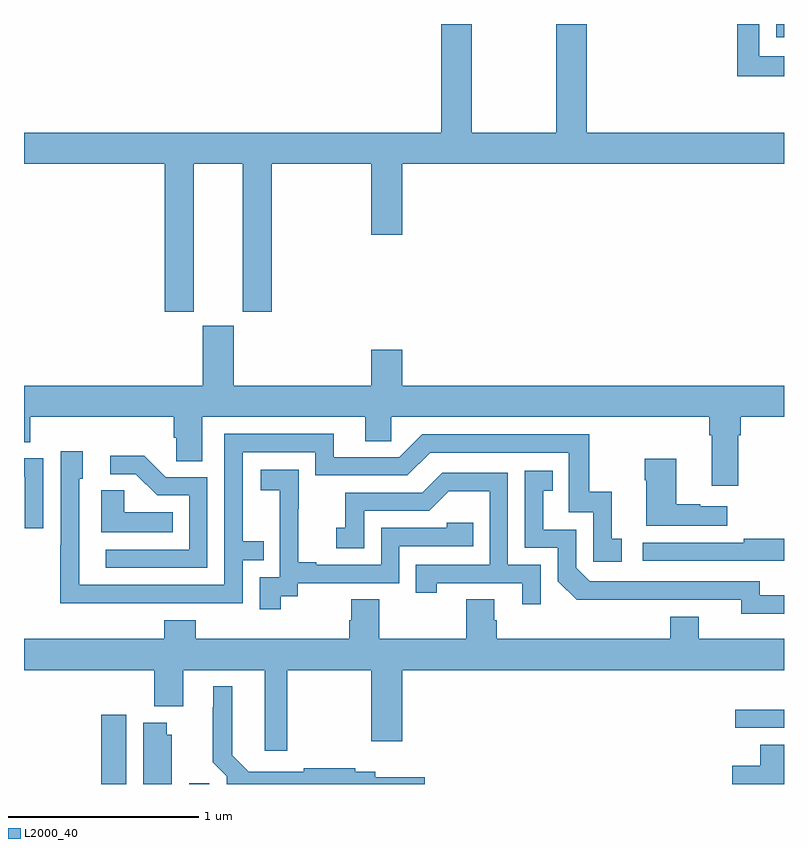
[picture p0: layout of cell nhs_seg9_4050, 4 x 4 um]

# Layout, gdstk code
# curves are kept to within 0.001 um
import gdstk
lib = gdstk.Library(unit=1e-6, precision=1e-09)
def R(c, l, rs):  # rectangles x0, y0, x1, y1
    for r in rs: c.add(gdstk.rectangle(r[:2], r[2:], *l))
def P(c, l, *ps):  # polygons
    for p in ps: c.add(gdstk.Polygon(p, *l))
L2000_40 = (2000, 40)

nhs_seg9_4050 = lib.new_cell('nhs_seg9_4050')
R(nhs_seg9_4050, L2000_40, [(343.406,1182.5,343.537,1182.865), (343.871,1182.5,343.975,1182.505), (346.743,1182.795,347,1182.891), (346.958,1186.43,347,1186.5)])
P(nhs_seg9_4050, L2000_40, [(343.894,1185.764),(344.15,1185.764),(344.15,1184.985),(344.303,1184.985),(344.303,1185.764),(344.828,1185.764),(344.828,1185.39),(344.992,1185.39),(344.992,1185.764),(347,1185.764),(347,1185.928),(345.962,1185.928),(345.962,1186.5),(345.802,1186.5),(345.802,1185.928),(345.357,1185.928),(345.357,1186.5),(345.197,1186.5),(345.197,1185.928),(343,1185.928),(343,1185.764),(343.742,1185.764),(343.742,1184.985),(343.894,1184.985)],
  [(346.876,1186.226),(347,1186.226),(347,1186.33),(346.869,1186.33),(346.869,1186.5),(346.753,1186.5),(346.753,1186.224),(346.876,1186.224)],
  [(346.759,1184.336),(346.772,1184.336),(346.772,1184.432),(347,1184.432),(347,1184.596),(344.992,1184.596),(344.992,1184.785),(344.828,1184.785),(344.828,1184.596),(344.104,1184.596),(344.104,1184.913),(343.94,1184.913),(343.94,1184.596),(343,1184.596),(343,1184.299),(343.034,1184.299),(343.034,1184.432),(343.787,1184.432),(343.787,1184.323),(343.8,1184.323),(343.8,1184.2),(343.939,1184.2),(343.939,1184.432),(344.795,1184.432),(344.795,1184.305),(344.934,1184.305),(344.934,1184.432),(346.607,1184.432),(346.607,1184.336),(346.619,1184.336),(346.619,1184.07),(346.759,1184.07)],
  [(343.655,1183.452),(344.151,1183.452),(344.151,1183.677),(344.261,1183.677),(344.261,1183.778),(344.151,1183.778),(344.151,1184.247),(344.532,1184.247),(344.532,1184.124),(345.018,1184.124),(345.138,1184.244),(345.867,1184.244),(345.867,1183.929),(345.996,1183.929),(345.996,1183.671),(346.147,1183.671),(346.147,1183.791),(346.094,1183.791),(346.094,1184.038),(345.976,1184.038),(345.976,1184.34),(345.096,1184.34),(344.976,1184.22),(344.629,1184.22),(344.629,1184.343),(344.055,1184.343),(344.055,1183.548),(343.29,1183.548),(343.29,1184.106),(343.309,1184.106),(343.309,1184.251),(343.194,1184.251),(343.194,1183.757),(343.192,1183.757),(343.192,1183.451)],
  [(343.965,1184.115),(343.746,1184.115),(343.633,1184.228),(343.455,1184.228),(343.455,1184.13),(343.589,1184.13),(343.7,1184.019),(343.869,1184.019),(343.869,1183.734),(343.431,1183.734),(343.431,1183.638),(343.965,1183.638)],
  [(343.101,1184.214),(343,1184.214),(343,1184.118),(343.005,1184.118),(343.005,1183.845),(343.101,1183.845)],
  [(346.702,1183.963),(346.559,1183.963),(346.559,1183.973),(346.432,1183.973),(346.432,1184.212),(346.267,1184.212),(346.267,1184.099),(346.274,1184.099),(346.274,1183.859),(346.702,1183.859)],
  [(344.35,1183.489),(344.442,1183.489),(344.442,1183.557),(344.976,1183.557),(344.976,1183.752),(345.365,1183.752),(345.365,1183.875),(345.225,1183.875),(345.225,1183.848),(344.88,1183.848),(344.88,1183.653),(344.539,1183.653),(344.539,1183.666),(344.444,1183.666),(344.444,1183.949),(344.445,1183.949),(344.445,1184.155),(344.247,1184.155),(344.247,1184.045),(344.345,1184.045),(344.345,1183.817),(344.346,1183.817),(344.346,1183.587),(344.241,1183.587),(344.241,1183.419),(344.35,1183.419)],
  [(347,1183.494),(346.872,1183.494),(346.872,1183.566),(345.978,1183.566),(345.906,1183.638),(345.906,1183.839),(345.733,1183.839),(345.733,1184.043),(345.782,1184.043),(345.782,1184.149),(345.636,1184.149),(345.636,1183.743),(345.81,1183.743),(345.81,1183.566),(345.908,1183.469),(346.776,1183.47),(346.776,1183.397),(347,1183.397)],
  [(345.72,1183.653),(345.546,1183.653),(345.546,1184.139),(345.2,1184.139),(345.095,1184.034),(344.692,1184.034),(344.692,1183.849),(344.643,1183.849),(344.643,1183.74),(344.79,1183.74),(344.79,1183.938),(345.132,1183.938),(345.236,1184.042),(345.45,1184.042),(345.45,1183.653),(345.061,1183.653),(345.061,1183.506),(345.172,1183.506),(345.172,1183.557),(345.623,1183.557),(345.623,1183.446),(345.72,1183.446)],
  [(343.784,1183.93),(343.527,1183.93),(343.527,1184.045),(343.406,1184.045),(343.406,1183.826),(343.784,1183.826)],
  [(347,1183.79),(346.789,1183.79),(346.789,1183.77),(346.257,1183.77),(346.257,1183.674),(347,1183.674)],
  [(344.385,1183.1),(344.828,1183.1),(344.828,1182.726),(344.992,1182.726),(344.992,1183.1),(347,1183.1),(347,1183.264),(346.552,1183.264),(346.552,1183.381),(346.4,1183.381),(346.4,1183.264),(345.488,1183.264),(345.488,1183.362),(345.475,1183.362),(345.475,1183.472),(345.328,1183.472),(345.328,1183.264),(344.871,1183.264),(344.871,1183.472),(344.723,1183.472),(344.723,1183.362),(344.711,1183.362),(344.711,1183.264),(343.904,1183.264),(343.904,1183.363),(343.739,1183.363),(343.739,1183.264),(343,1183.264),(343,1183.1),(343.685,1183.1),(343.685,1182.908),(343.837,1182.908),(343.837,1183.1),(344.267,1183.1),(344.267,1182.675),(344.385,1182.675)],
  [(345.109,1182.535),(344.848,1182.535),(344.848,1182.564),(344.744,1182.564),(344.744,1182.584),(344.473,1182.584),(344.473,1182.564),(344.182,1182.564),(344.095,1182.652),(344.095,1183.015),(343.997,1183.015),(343.997,1182.905),(343.993,1182.905),(343.993,1182.614),(344.067,1182.54),(344.067,1182.5),(345.109,1182.5)],
  [(343.777,1182.759),(343.75,1182.759),(343.75,1182.823),(343.628,1182.823),(343.628,1182.5),(343.777,1182.5)],
  [(347,1182.706),(346.874,1182.706),(346.874,1182.595),(346.728,1182.595),(346.728,1182.5),(347,1182.5)])

lib.write_gds('nhs_seg9_4050.gds')
